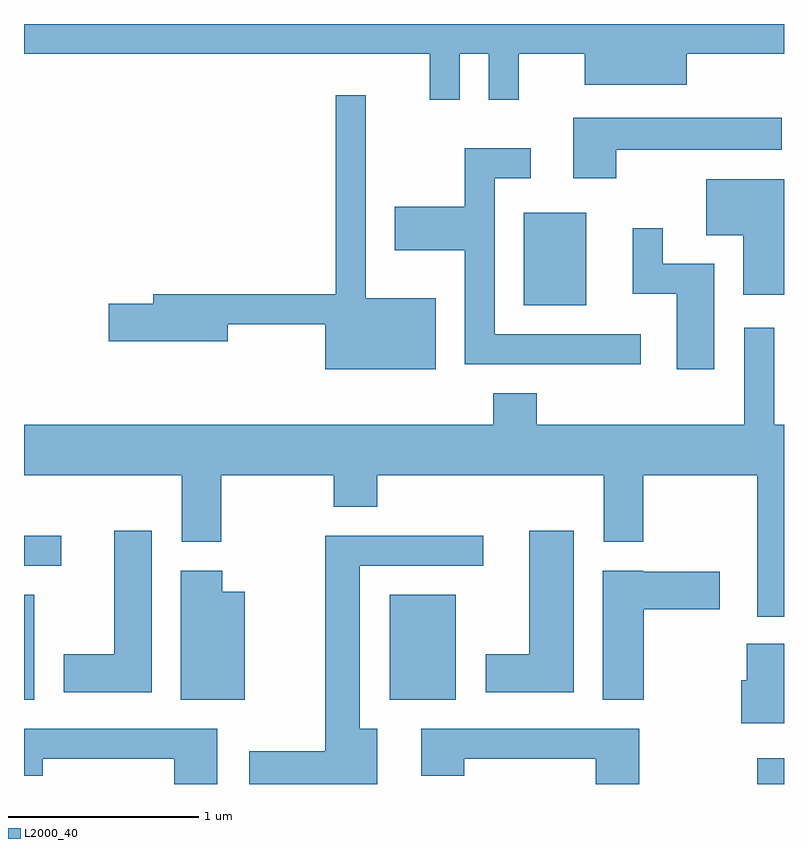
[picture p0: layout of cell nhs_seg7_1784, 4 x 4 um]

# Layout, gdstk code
import gdstk
lib = gdstk.Library(unit=1e-6, precision=1e-09)
def R(c, l, rs):  # rectangles x0, y0, x1, y1
    for r in rs: c.add(gdstk.rectangle(r[:2], r[2:], *l))
def P(c, l, *ps):  # polygons
    for p in ps: c.add(gdstk.Polygon(p, *l))
L2000_40 = (2000, 40)

nhs_seg7_1784 = lib.new_cell('nhs_seg7_1784')
R(nhs_seg7_1784, L2000_40, [(243.471,1708.252,243.611,1708.388), (239.611,1708.696,239.664,1709.249), (241.536,1708.696,241.884,1709.249), (239.611,1709.401,239.808,1709.559), (242.241,1710.771,242.569,1711.259)])
P(nhs_seg7_1784, L2000_40, [(241.904,1712.096),(242.056,1712.096),(242.056,1711.853),(242.214,1711.853),(242.214,1712.096),(242.561,1712.096),(242.561,1711.931),(243.099,1711.931),(243.099,1712.096),(243.611,1712.096),(243.611,1712.252),(239.611,1712.252),(239.611,1712.096),(241.746,1712.096),(241.746,1711.853),(241.904,1711.853)],
  [(241.779,1710.809),(241.409,1710.809),(241.409,1711.878),(241.251,1711.878),(241.251,1710.829),(240.291,1710.829),(240.291,1710.779),(240.056,1710.779),(240.056,1710.581),(240.684,1710.581),(240.684,1710.671),(241.196,1710.671),(241.196,1710.436),(241.779,1710.436)],
  [(242.729,1711.591),(243.598,1711.591),(243.598,1711.759),(242.501,1711.759),(242.501,1711.441),(242.729,1711.441)],
  [(242.858,1710.619),(242.089,1710.619),(242.089,1711.441),(242.278,1711.441),(242.278,1711.599),(241.931,1711.599),(241.931,1711.289),(241.561,1711.289),(241.561,1711.061),(241.931,1711.061),(241.931,1710.461),(242.858,1710.461)],
  [(243.611,1711.434),(243.201,1711.434),(243.201,1711.141),(243.396,1711.141),(243.396,1710.826),(243.611,1710.826)],
  [(243.244,1710.989),(242.974,1710.989),(242.974,1711.178),(242.816,1711.178),(242.816,1710.831),(243.046,1710.831),(243.046,1710.436),(243.244,1710.436)],
  [(243.611,1710.144),(243.559,1710.144),(243.559,1710.653),(243.401,1710.653),(243.401,1710.144),(242.309,1710.144),(242.309,1710.309),(242.081,1710.309),(242.081,1710.144),(239.611,1710.144),(239.611,1709.876),(240.441,1709.876),(240.441,1709.526),(240.649,1709.526),(240.649,1709.876),(241.241,1709.876),(241.241,1709.711),(241.469,1709.711),(241.469,1709.876),(242.661,1709.876),(242.661,1709.526),(242.869,1709.526),(242.869,1709.876),(243.471,1709.876),(243.471,1709.133),(243.611,1709.133)],
  [(242.504,1709.584),(242.271,1709.584),(242.271,1708.934),(242.041,1708.934),(242.041,1708.736),(242.504,1708.736)],
  [(240.284,1709.584),(240.086,1709.584),(240.086,1708.934),(239.821,1708.934),(239.821,1708.736),(240.284,1708.736)],
  [(241.469,1708.544),(241.379,1708.544),(241.379,1709.401),(242.028,1709.401),(242.028,1709.559),(241.196,1709.559),(241.196,1708.424),(240.796,1708.424),(240.796,1708.252),(241.469,1708.252)],
  [(240.774,1709.264),(240.654,1709.264),(240.654,1709.374),(240.436,1709.374),(240.436,1708.696),(240.774,1708.696)],
  [(242.874,1709.171),(243.274,1709.171),(243.274,1709.369),(242.87,1709.369),(242.87,1709.374),(242.656,1709.374),(242.656,1708.696),(242.874,1708.696)],
  [(243.611,1708.989),(243.416,1708.989),(243.416,1708.799),(243.386,1708.799),(243.386,1708.571),(243.611,1708.571)],
  [(242.849,1708.544),(241.701,1708.544),(241.701,1708.296),(241.929,1708.296),(241.929,1708.386),(242.621,1708.386),(242.621,1708.252),(242.849,1708.252)],
  [(240.629,1708.544),(239.611,1708.544),(239.611,1708.296),(239.709,1708.296),(239.709,1708.386),(240.401,1708.386),(240.401,1708.252),(240.629,1708.252)])

lib.write_gds('nhs_seg7_1784.gds')
